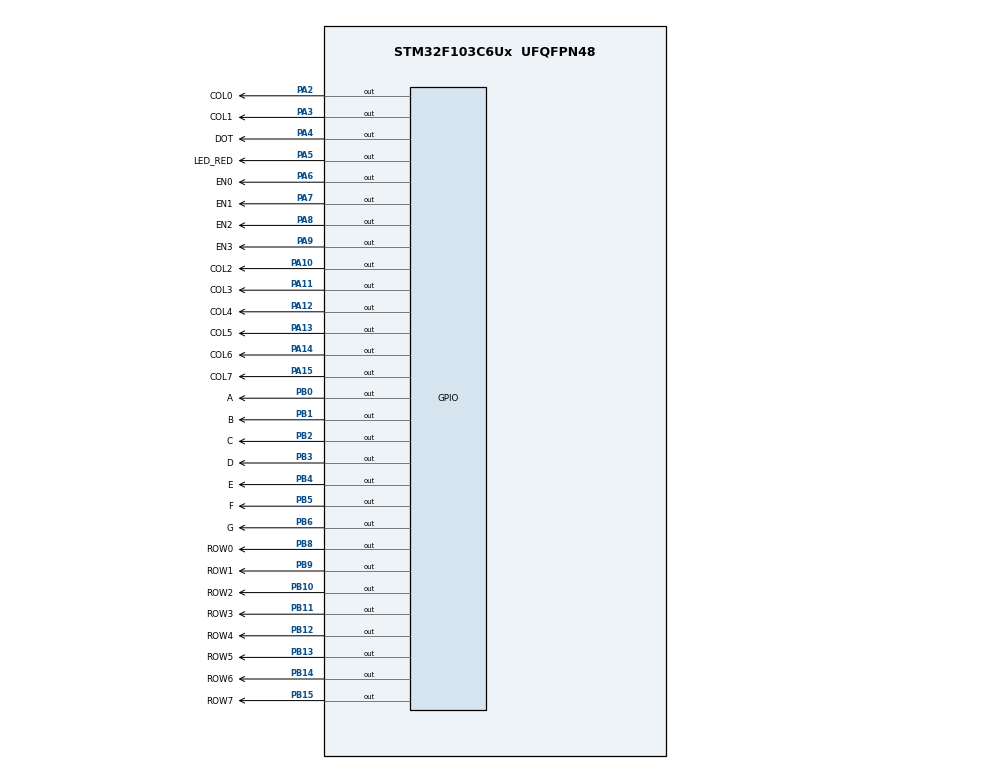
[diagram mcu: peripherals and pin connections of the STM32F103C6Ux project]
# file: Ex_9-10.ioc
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Mcu.Family=STM32F1
Mcu.Name=STM32F103C6Ux
Mcu.Package=UFQFPN48
NVIC.PriorityGroup=NVIC_PRIORITYGROUP_4
NVIC.TIM2_IRQn=true\:0\:0\:false\:false\:true\:true\:true
PA10.GPIO_Label=COL2
PA10.Signal=GPIO_Output
PA11.GPIO_Label=COL3
PA11.Signal=GPIO_Output
PA12.GPIO_Label=COL4
PA12.Signal=GPIO_Output
PA13.GPIO_Label=COL5
PA13.Signal=GPIO_Output
PA14.GPIO_Label=COL6
PA14.Signal=GPIO_Output
PA15.GPIO_Label=COL7
PA15.Signal=GPIO_Output
PA2.GPIO_Label=COL0
PA2.Signal=GPIO_Output
PA3.GPIO_Label=COL1
PA3.Signal=GPIO_Output
PA4.GPIO_Label=DOT
PA4.Signal=GPIO_Output
PA5.GPIO_Label=LED_RED
PA5.Signal=GPIO_Output
PA6.GPIO_Label=EN0
PA6.Signal=GPIO_Output
PA7.GPIO_Label=EN1
PA7.Signal=GPIO_Output
PA8.GPIO_Label=EN2
PA8.Signal=GPIO_Output
PA9.GPIO_Label=EN3
PA9.Signal=GPIO_Output
PB0.GPIO_Label=A
PB0.Signal=GPIO_Output
PB1.GPIO_Label=B
PB1.Signal=GPIO_Output
PB10.GPIO_Label=ROW2
PB10.Signal=GPIO_Output
PB11.GPIO_Label=ROW3
PB11.Signal=GPIO_Output
PB12.GPIO_Label=ROW4
PB12.Signal=GPIO_Output
PB13.GPIO_Label=ROW5
PB13.Signal=GPIO_Output
PB14.GPIO_Label=ROW6
PB14.Signal=GPIO_Output
PB15.GPIO_Label=ROW7
PB15.Signal=GPIO_Output
PB2.GPIO_Label=C
PB2.Signal=GPIO_Output
PB3.GPIO_Label=D
PB3.Signal=GPIO_Output
PB4.GPIO_Label=E
PB4.Signal=GPIO_Output
PB5.GPIO_Label=F
PB5.Signal=GPIO_Output
PB6.GPIO_Label=G
PB6.Signal=GPIO_Output
PB8.GPIO_Label=ROW0
PB8.Signal=GPIO_Output
PB9.GPIO_Label=ROW1
PB9.Signal=GPIO_Output
ProjectManager.HeapSize=0x200
ProjectManager.StackSize=0x400
ProjectManager.TargetToolchain=STM32CubeIDE
RCC.APB1Freq_Value=8000000
RCC.APB2Freq_Value=8000000
TIM2.Period=9
TIM2.Prescaler=7999
VP_SYS_VS_ND.Mode=No_Debug
VP_TIM2_VS_ClockSourceINT.Mode=Internal
board=custom

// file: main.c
/* USER CODE BEGIN Header */
/**
  ******************************************************************************
  * @file           : main.c
  * @brief          : Main program body
  ******************************************************************************
  * @attention
  *
  * <h2><center>&copy; Copyright (c) 2024 STMicroelectronics.
  * All rights reserved.</center></h2>
  *
  * This software component is licensed by ST under BSD 3-Clause license,
  * the "License"; You may not use this file except in compliance with the
  * License. You may obtain a copy of the License at:
  *                        opensource.org/licenses/BSD-3-Clause
  *
  ******************************************************************************
  */
/* USER CODE END Header */
#include "main.h"

TIM_HandleTypeDef htim2;

/* USER CODE BEGIN PV */
const int MAX_LED_MATRIX = 8;
const int TIMER_CYCLE = 10;
int index_led_matrix = 0;
int timer0_counter = 0, timer0_flag = 0;
int timer1_counter = 0, timer1_flag = 0;

void setTimer0(int duration){
	timer0_counter = duration /TIMER_CYCLE;
}
void timer_run(){
	if(timer0_counter > 0){
		timer0_counter --;
		if(timer0_counter == 0) {
			timer0_flag = 1;
			timer1_counter++;
			if (timer1_counter >= 50){
				timer1_flag = 1;
				timer1_counter = 0;
			}
		}
	}
}
// Buffer to hold the bit pattern for the character "A"
uint8_t matrix_buffer[10] = {
    0b11111100,
    0b11111110,
    0b00010011,
    0b00010001,
    0b00010001,
    0b00010011,
    0b11111110,
    0b11111100,
	0b00000000,
	0b00000000
};

// Function to update the LED matrix
void updateLEDMatrix(int idx) {
    // Ensure the index is within the valid range
    if (idx < 0 || idx >= MAX_LED_MATRIX) {
        return;  // Invalid index, exit the function
    }

    // Disable all columns first (to prevent ghosting)
    HAL_GPIO_WritePin(COL0_GPIO_Port, COL0_Pin, GPIO_PIN_SET);
    HAL_GPIO_WritePin(COL1_GPIO_Port, COL1_Pin, GPIO_PIN_SET);
    HAL_GPIO_WritePin(COL2_GPIO_Port, COL2_Pin, GPIO_PIN_SET);
    HAL_GPIO_WritePin(COL3_GPIO_Port, COL3_Pin, GPIO_PIN_SET);
    HAL_GPIO_WritePin(COL4_GPIO_Port, COL4_Pin, GPIO_PIN_SET);
    HAL_GPIO_WritePin(COL5_GPIO_Port, COL5_Pin, GPIO_PIN_SET);
    HAL_GPIO_WritePin(COL6_GPIO_Port, COL6_Pin, GPIO_PIN_SET);
    HAL_GPIO_WritePin(COL7_GPIO_Port, COL7_Pin, GPIO_PIN_SET);

    // Enable the current column
    switch (idx) {
        case 0:
            HAL_GPIO_WritePin(COL0_GPIO_Port, COL0_Pin, GPIO_PIN_RESET);
            break;
        case 1:
            HAL_GPIO_WritePin(COL1_GPIO_Port, COL1_Pin, GPIO_PIN_RESET);
            break;
        case 2:
            HAL_GPIO_WritePin(COL2_GPIO_Port, COL2_Pin, GPIO_PIN_RESET);
            break;
        case 3:
            HAL_GPIO_WritePin(COL3_GPIO_Port, COL3_Pin, GPIO_PIN_RESET);
            break;
        case 4:
            HAL_GPIO_WritePin(COL4_GPIO_Port, COL4_Pin, GPIO_PIN_RESET);
            break;
        case 5:
            HAL_GPIO_WritePin(COL5_GPIO_Port, COL5_Pin, GPIO_PIN_RESET);
            break;
        case 6:
            HAL_GPIO_WritePin(COL6_GPIO_Port, COL6_Pin, GPIO_PIN_RESET);
            break;
        case 7:
            HAL_GPIO_WritePin(COL7_GPIO_Port, COL7_Pin, GPIO_PIN_RESET);
            break;
    }

    // Update the rows with the data for the current column
    uint8_t row_data = matrix_buffer[idx];
    HAL_GPIO_WritePin(ROW0_GPIO_Port, ROW0_Pin, (row_data & 0x01) ? GPIO_PIN_RESET : GPIO_PIN_SET);
    HAL_GPIO_WritePin(ROW1_GPIO_Port, ROW1_Pin, (row_data & 0x02) ? GPIO_PIN_RESET : GPIO_PIN_SET);
    HAL_GPIO_WritePin(ROW2_GPIO_Port, ROW2_Pin, (row_data & 0x04) ? GPIO_PIN_RESET : GPIO_PIN_SET);
    HAL_GPIO_WritePin(ROW3_GPIO_Port, ROW3_Pin, (row_data & 0x08) ? GPIO_PIN_RESET : GPIO_PIN_SET);
    HAL_GPIO_WritePin(ROW4_GPIO_Port, ROW4_Pin, (row_data & 0x10) ? GPIO_PIN_RESET : GPIO_PIN_SET);
    HAL_GPIO_WritePin(ROW5_GPIO_Port, ROW5_Pin, (row_data & 0x20) ? GPIO_PIN_RESET : GPIO_PIN_SET);
    HAL_GPIO_WritePin(ROW6_GPIO_Port, ROW6_Pin, (row_data & 0x40) ? GPIO_PIN_RESET : GPIO_PIN_SET);
    HAL_GPIO_WritePin(ROW7_GPIO_Port, ROW7_Pin, (row_data & 0x80) ? GPIO_PIN_RESET : GPIO_PIN_SET);
}
void shiftMatrixLeft() {
    const int ROW_COUNT = 10;
    uint8_t temp = matrix_buffer[0];

    for (int i = 0; i < ROW_COUNT - 1; i++) {
        matrix_buffer[i] = matrix_buffer[i + 1];
    }
    matrix_buffer[ROW_COUNT - 1] = temp;
}
/* USER CODE END PV */

void SystemClock_Config(void);
static void MX_GPIO_Init(void);
static void MX_TIM2_Init(void);

int main(void)
{

  /* MCU Configuration--------------------------------------------------------*/

  /* Reset of all peripherals, Initializes the Flash interface and the Systick. */
  HAL_Init();

  /* Configure the system clock */
  SystemClock_Config();

  /* Initialize all configured peripherals */
  MX_GPIO_Init();
  MX_TIM2_Init();
  /* USER CODE BEGIN 2 */
  HAL_TIM_Base_Start_IT(&htim2);
  /* USER CODE END 2 */

  /* Infinite loop */
  /* USER CODE BEGIN WHILE */
  setTimer0(1000);
  while (1)
  {
    /* USER CODE END WHILE */
	  if (timer0_flag == 1){
		  updateLEDMatrix(index_led_matrix);
		  index_led_matrix = (index_led_matrix + 1) % MAX_LED_MATRIX;
		  timer0_flag = 0;
		  setTimer0(10);
	  }
	  if (timer1_flag == 1){
		  shiftMatrixLeft();
		  timer1_flag = 0;
	  }

  }
}

void SystemClock_Config(void)
{
  RCC_OscInitTypeDef RCC_OscInitStruct = {0};
  RCC_ClkInitTypeDef RCC_ClkInitStruct = {0};

  /** Initializes the RCC Oscillators according to the specified parameters
  * in the RCC_OscInitTypeDef structure.
  */
  RCC_OscInitStruct.OscillatorType = RCC_OSCILLATORTYPE_HSI;
  RCC_OscInitStruct.HSIState = RCC_HSI_ON;
  RCC_OscInitStruct.HSICalibrationValue = RCC_HSICALIBRATION_DEFAULT;
  RCC_OscInitStruct.PLL.PLLState = RCC_PLL_NONE;
  if (HAL_RCC_OscConfig(&RCC_OscInitStruct) != HAL_OK)
  {
    Error_Handler();
  }
  /** Initializes the CPU, AHB and APB buses clocks
  */
  RCC_ClkInitStruct.ClockType = RCC_CLOCKTYPE_HCLK|RCC_CLOCKTYPE_SYSCLK
                              |RCC_CLOCKTYPE_PCLK1|RCC_CLOCKTYPE_PCLK2;
  RCC_ClkInitStruct.SYSCLKSource = RCC_SYSCLKSOURCE_HSI;
  RCC_ClkInitStruct.AHBCLKDivider = RCC_SYSCLK_DIV1;
  RCC_ClkInitStruct.APB1CLKDivider = RCC_HCLK_DIV1;
  RCC_ClkInitStruct.APB2CLKDivider = RCC_HCLK_DIV1;

  if (HAL_RCC_ClockConfig(&RCC_ClkInitStruct, FLASH_LATENCY_0) != HAL_OK)
  {
    Error_Handler();
  }
}

static void MX_TIM2_Init(void)
{

  TIM_ClockConfigTypeDef sClockSourceConfig = {0};
  TIM_MasterConfigTypeDef sMasterConfig = {0};

  htim2.Instance = TIM2;
  htim2.Init.Prescaler = 7999;
  htim2.Init.CounterMode = TIM_COUNTERMODE_UP;
  htim2.Init.Period = 9;
  htim2.Init.ClockDivision = TIM_CLOCKDIVISION_DIV1;
  htim2.Init.AutoReloadPreload = TIM_AUTORELOAD_PRELOAD_DISABLE;
  if (HAL_TIM_Base_Init(&htim2) != HAL_OK)
  {
    Error_Handler();
  }
  sClockSourceConfig.ClockSource = TIM_CLOCKSOURCE_INTERNAL;
  if (HAL_TIM_ConfigClockSource(&htim2, &sClockSourceConfig) != HAL_OK)
  {
    Error_Handler();
  }
  sMasterConfig.MasterOutputTrigger = TIM_TRGO_RESET;
  sMasterConfig.MasterSlaveMode = TIM_MASTERSLAVEMODE_DISABLE;
  if (HAL_TIMEx_MasterConfigSynchronization(&htim2, &sMasterConfig) != HAL_OK)
  {
    Error_Handler();
  }

}

static void MX_GPIO_Init(void)
{
  GPIO_InitTypeDef GPIO_InitStruct = {0};

  /* GPIO Ports Clock Enable */
  __HAL_RCC_GPIOA_CLK_ENABLE();
  __HAL_RCC_GPIOB_CLK_ENABLE();

  /*Configure GPIO pin Output Level */
  HAL_GPIO_WritePin(GPIOA, COL0_Pin|COL1_Pin|DOT_Pin|LED_RED_Pin
                          |EN0_Pin|EN1_Pin|EN2_Pin|EN3_Pin
                          |COL2_Pin|COL3_Pin|COL4_Pin|COL5_Pin
                          |COL6_Pin|COL7_Pin, GPIO_PIN_RESET);

  /*Configure GPIO pin Output Level */
  HAL_GPIO_WritePin(GPIOB, A_Pin|B_Pin|C_Pin|ROW2_Pin
                          |ROW3_Pin|ROW4_Pin|ROW5_Pin|ROW6_Pin
                          |ROW7_Pin|D_Pin|E_Pin|F_Pin
                          |G_Pin|ROW0_Pin|ROW1_Pin, GPIO_PIN_RESET);

  /*Configure GPIO pins : COL0_Pin COL1_Pin DOT_Pin LED_RED_Pin
                           EN0_Pin EN1_Pin EN2_Pin EN3_Pin
                           COL2_Pin COL3_Pin COL4_Pin COL5_Pin
                           COL6_Pin COL7_Pin */
  GPIO_InitStruct.Pin = COL0_Pin|COL1_Pin|DOT_Pin|LED_RED_Pin
                          |EN0_Pin|EN1_Pin|EN2_Pin|EN3_Pin
                          |COL2_Pin|COL3_Pin|COL4_Pin|COL5_Pin
                          |COL6_Pin|COL7_Pin;
  GPIO_InitStruct.Mode = GPIO_MODE_OUTPUT_PP;
  GPIO_InitStruct.Pull = GPIO_NOPULL;
  GPIO_InitStruct.Speed = GPIO_SPEED_FREQ_LOW;
  HAL_GPIO_Init(GPIOA, &GPIO_InitStruct);

  /*Configure GPIO pins : A_Pin B_Pin C_Pin ROW2_Pin
                           ROW3_Pin ROW4_Pin ROW5_Pin ROW6_Pin
                           ROW7_Pin D_Pin E_Pin F_Pin
                           G_Pin ROW0_Pin ROW1_Pin */
  GPIO_InitStruct.Pin = A_Pin|B_Pin|C_Pin|ROW2_Pin
                          |ROW3_Pin|ROW4_Pin|ROW5_Pin|ROW6_Pin
                          |ROW7_Pin|D_Pin|E_Pin|F_Pin
                          |G_Pin|ROW0_Pin|ROW1_Pin;
  GPIO_InitStruct.Mode = GPIO_MODE_OUTPUT_PP;
  GPIO_InitStruct.Pull = GPIO_NOPULL;
  GPIO_InitStruct.Speed = GPIO_SPEED_FREQ_LOW;
  HAL_GPIO_Init(GPIOB, &GPIO_InitStruct);

}

/* USER CODE BEGIN 4 */
void HAL_TIM_PeriodElapsedCallback(TIM_HandleTypeDef *htim) {
	timer_run();
}
/* USER CODE END 4 */

void Error_Handler(void)
{
  __disable_irq();
  while (1)
  {
  }
}

/************************ (C) COPYRIGHT STMicroelectronics *****END OF FILE****/
